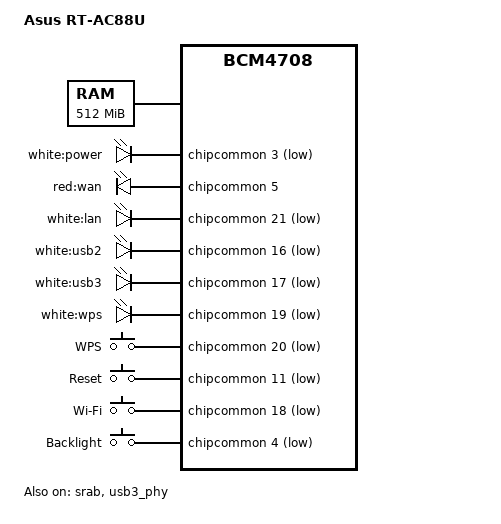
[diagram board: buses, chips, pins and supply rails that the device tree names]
// SPDX-License-Identifier: GPL-2.0-or-later OR MIT
/*
 * Copyright (C) 2021 Arınç ÜNAL <arinc.unal@arinc9.com>
 */

/dts-v1/;

#include "bcm47094.dtsi"
#include "bcm5301x-nand-cs0-bch8.dtsi"

/ {
	compatible = "asus,rt-ac88u", "brcm,bcm47094", "brcm,bcm4708";
	model = "Asus RT-AC88U";

	chosen {
		bootargs = "earlycon";
	};

	memory@0 {
		device_type = "memory";
		reg = <0x00000000 0x08000000>,
		      <0x88000000 0x18000000>;
	};

	nvram@1c080000 {
		compatible = "brcm,nvram";
		reg = <0x1c080000 0x00180000>;
	};

	leds {
		compatible = "gpio-leds";

		power {
			label = "white:power";
			gpios = <&chipcommon 3 GPIO_ACTIVE_LOW>;
			linux,default-trigger = "default-on";
		};

		wan-red {
			label = "red:wan";
			gpios = <&chipcommon 5 GPIO_ACTIVE_HIGH>;
		};

		lan {
			label = "white:lan";
			gpios = <&chipcommon 21 GPIO_ACTIVE_LOW>;
		};

		usb2 {
			label = "white:usb2";
			gpios = <&chipcommon 16 GPIO_ACTIVE_LOW>;
			trigger-sources = <&ehci_port2>;
			linux,default-trigger = "usbport";
		};

		usb3 {
			label = "white:usb3";
			gpios = <&chipcommon 17 GPIO_ACTIVE_LOW>;
			trigger-sources = <&ehci_port1>, <&xhci_port1>;
			linux,default-trigger = "usbport";
		};

		wps {
			label = "white:wps";
			gpios = <&chipcommon 19 GPIO_ACTIVE_LOW>;
		};
	};

	gpio-keys {
		compatible = "gpio-keys";
		#address-cells = <1>;
		#size-cells = <0>;

		wps {
			label = "WPS";
			linux,code = <KEY_WPS_BUTTON>;
			gpios = <&chipcommon 20 GPIO_ACTIVE_LOW>;
		};

		reset {
			label = "Reset";
			linux,code = <KEY_RESTART>;
			gpios = <&chipcommon 11 GPIO_ACTIVE_LOW>;
		};

		wifi {
			label = "Wi-Fi";
			linux,code = <KEY_RFKILL>;
			gpios = <&chipcommon 18 GPIO_ACTIVE_LOW>;
		};

		led {
			label = "Backlight";
			linux,code = <KEY_BRIGHTNESS_ZERO>;
			gpios = <&chipcommon 4 GPIO_ACTIVE_LOW>;
		};
	};
};

&srab {
	compatible = "brcm,bcm53012-srab", "brcm,bcm5301x-srab";
	status = "okay";
	dsa,member = <0 0>;

	ports {
		#address-cells = <1>;
		#size-cells = <0>;

		port@0 {
			reg = <0>;
			label = "lan4";
		};

		port@1 {
			reg = <1>;
			label = "lan3";
		};

		port@2 {
			reg = <2>;
			label = "lan2";
		};

		port@3 {
			reg = <3>;
			label = "lan1";
		};

		port@4 {
			reg = <4>;
			label = "wan";
		};

		sw0_p5: port@5 {
			reg = <5>;
			label = "extsw";

			fixed-link {
				speed = <1000>;
				full-duplex;
			};
		};

		port@7 {
			reg = <7>;
			ethernet = <&gmac1>;
			label = "cpu";

			fixed-link {
				speed = <1000>;
				full-duplex;
			};
		};

		port@8 {
			reg = <8>;
			ethernet = <&gmac2>;
			label = "cpu";
			status = "disabled";

			fixed-link {
				speed = <1000>;
				full-duplex;
			};
		};
	};
};

&usb2 {
	vcc-gpio = <&chipcommon 9 GPIO_ACTIVE_HIGH>;
};

&usb3_phy {
	status = "okay";
};

&nandcs {
	partitions {
		compatible = "fixed-partitions";
		#address-cells = <1>;
		#size-cells = <1>;

		partition@0 {
			label = "boot";
			reg = <0x00000000 0x00080000>;
			read-only;
		};

		partition@80000 {
			label = "nvram";
			reg = <0x00080000 0x00180000>;
		};

		partition@200000 {
			label = "firmware";
			reg = <0x00200000 0x07e00000>;
			compatible = "brcm,trx";
		};
	};
};
